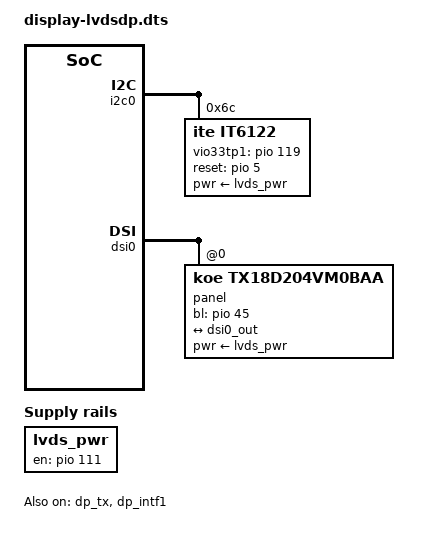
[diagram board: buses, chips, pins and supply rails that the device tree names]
/dts-v1/;
/plugin/;

#include <dt-bindings/pinctrl/mediatek,mt8188-pinfunc.h>
#include <dt-bindings/gpio/gpio.h>

/ {
	fragment@0 {
		target = <&i2c0>;
		__overlay__ {
			touchscreen@5d {
				status = "disabled";
			};

			it6122: it6122@6c {
				compatible = "ite,it6122";
				reg = <0x6c>;
				pinctrl-names = "default";
				pinctrl-0 = <&it6122_pins_default>;
				vio33tp1-gpio = <&pio 119 GPIO_ACTIVE_HIGH>;
				ite,reset-gpio = <&pio 5 GPIO_ACTIVE_HIGH>;
				pwr-supply = <&lvds_pwr>;
			};
		};
	};

	fragment@1 {
		target-path = "/";
		__overlay__ {
			lvds_pwr: lvds-pwr {
				compatible = "regulator-fixed";
				regulator-name = "lcm1_en";
				enable-active-high;
				gpio = <&pio 111 GPIO_ACTIVE_HIGH>;
				pinctrl-names = "default";
				pinctrl-0 = <&lvds_pwr_pins_default>;
			};
		};
	};

	fragment@2 {
		target = <&dsi0>;
		__overlay__ {
			panel@0 {
				status = "disabled";
			};

			panel@1 {
				compatible = "koe,tx18d204vm0baa";
				status = "okay";
				reg = <0>;
				pinctrl-names = "default";
				pinctrl-0 = <&lvds_panel_pins_default>;
				bl-gpios = <&pio 45 GPIO_ACTIVE_HIGH>;
				pwr-supply = <&lvds_pwr>;
				mediatek,it6122-attached;
				port {
					panel0_in: endpoint {
						remote-endpoint = <&dsi0_out>;
					};
				};
			};
		};
	};

	fragment@3 {
		target = <&lcm1_tp_avdd>;
		__overlay__ {
			status = "disabled";
		};
	};

	fragment@4 {
		target = <&pio>;
		__overlay__ {
			it6122_pins_default: it6122-pins-default {
				pins-cmd-dat {
					pinmux = <PINMUX_GPIO119__FUNC_B_GPIO119>,
					<PINMUX_GPIO5__FUNC_B_GPIO5>;
					output-high;
				};
			};

			lvds_pwr_pins_default: lvds-pwr-pins-default {
				lvds-pwr {
					pinmux = <PINMUX_GPIO111__FUNC_B_GPIO111>;
					output-low;
				};
			};

			lvds_panel_pins_default: lvds-panel-pins-default {
				panel-dcdc {
					pinmux = <PINMUX_GPIO45__FUNC_B_GPIO45>;
					output-low;
				};
			};
		};
	};

	fragment@5 {
		target = <&dp_tx>;
		__overlay__ {
			status = "okay";
		};
	};

	fragment@6 {
		target = <&dp_intf1>;
		__overlay__ {
			status = "okay";
		};
	};

	fragment@7 {
		target = <&dpi1>;
		__overlay__ {
			status = "disabled";
		};
	};

	fragment@8 {
		target = <&hdmi0>;
		__overlay__ {
			status = "disabled";
		};
	};

	fragment@9 {
		target = <&hdmi_phy>;
		__overlay__ {
			status = "disabled";
		};
	};

	fragment@10 {
		target = <&cec>;
		__overlay__ {
			status = "disabled";
		};
	};

	fragment@11 {
		target = <&sound>;
		__overlay__ {
			dai-link-1 { /* HDMI */
				status = "disabled";
			};

			dai-link-2 { /* DPTX */
				status = "okay";
			};
		};
	};
};
